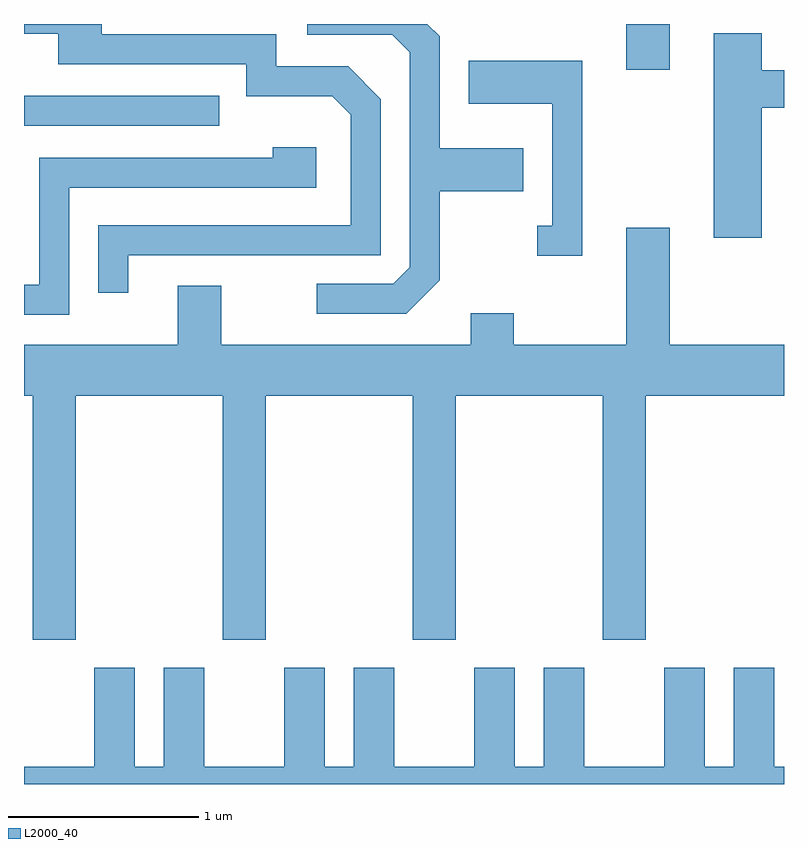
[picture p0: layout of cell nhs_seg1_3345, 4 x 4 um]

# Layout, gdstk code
import gdstk
lib = gdstk.Library(unit=1e-6, precision=1e-09)
def R(c, l, rs):  # rectangles x0, y0, x1, y1
    for r in rs: c.add(gdstk.rectangle(r[:2], r[2:], *l))
def P(c, l, *ps):  # polygons
    for p in ps: c.add(gdstk.Polygon(p, *l))
L2000_40 = (2000, 40)

nhs_seg1_3345 = lib.new_cell('nhs_seg1_3345')
R(nhs_seg1_3345, L2000_40, [(285.611,943.176,286.638,943.334), (288.781,943.471,289.009,943.712)])
P(nhs_seg1_3345, L2000_40, [(287.799,942.364),(287.799,942.831),(288.239,942.831),(288.239,943.059),(287.799,943.059),(287.799,943.647),(287.734,943.712),(287.103,943.712),(287.103,943.656),(287.549,943.656),(287.641,943.564),(287.641,942.432),(287.554,942.344),(287.153,942.344),(287.153,942.186),(287.622,942.186)],
  [(286.159,942.496),(287.489,942.496),(287.489,943.317),(287.317,943.489),(286.939,943.489),(286.939,943.659),(286.019,943.659),(286.019,943.712),(285.611,943.712),(285.611,943.661),(285.791,943.661),(285.791,943.501),(286.781,943.501),(286.781,943.331),(287.234,943.331),(287.331,943.234),(287.331,942.654),(286.001,942.654),(286.001,942.298),(286.159,942.298)],
  [(289.494,943.271),(289.611,943.271),(289.611,943.469),(289.494,943.469),(289.494,943.664),(289.241,943.664),(289.241,942.586),(289.494,942.586)],
  [(288.549,943.519),(287.951,943.519),(287.951,943.291),(288.391,943.291),(288.391,942.649),(288.313,942.649),(288.313,942.491),(288.549,942.491)],
  [(285.849,942.851),(287.149,942.851),(287.149,943.064),(286.921,943.064),(286.921,943.009),(285.691,943.009),(285.691,942.339),(285.611,942.339),(285.611,942.181),(285.849,942.181)],
  [(288.656,940.471),(288.884,940.471),(288.884,941.756),(289.611,941.756),(289.611,942.024),(289.009,942.024),(289.009,942.639),(288.781,942.639),(288.781,942.024),(288.189,942.024),(288.189,942.189),(287.961,942.189),(287.961,942.024),(286.649,942.024),(286.649,942.334),(286.421,942.334),(286.421,942.024),(285.611,942.024),(285.611,941.756),(285.656,941.756),(285.656,940.471),(285.884,940.471),(285.884,941.756),(286.656,941.756),(286.656,940.471),(286.884,940.471),(286.884,941.756),(287.656,941.756),(287.656,940.471),(287.884,940.471),(287.884,941.756),(288.656,941.756)],
  [(289.611,939.804),(289.559,939.804),(289.559,940.324),(289.346,940.324),(289.346,939.804),(289.194,939.804),(289.194,940.324),(288.981,940.324),(288.981,939.804),(288.559,939.804),(288.559,940.324),(288.346,940.324),(288.346,939.804),(288.194,939.804),(288.194,940.324),(287.981,940.324),(287.981,939.804),(287.559,939.804),(287.559,940.324),(287.346,940.324),(287.346,939.804),(287.194,939.804),(287.194,940.324),(286.981,940.324),(286.981,939.804),(286.559,939.804),(286.559,940.324),(286.346,940.324),(286.346,939.804),(286.194,939.804),(286.194,940.324),(285.981,940.324),(285.981,939.804),(285.611,939.804),(285.611,939.712),(289.611,939.712)])

lib.write_gds('nhs_seg1_3345.gds')
